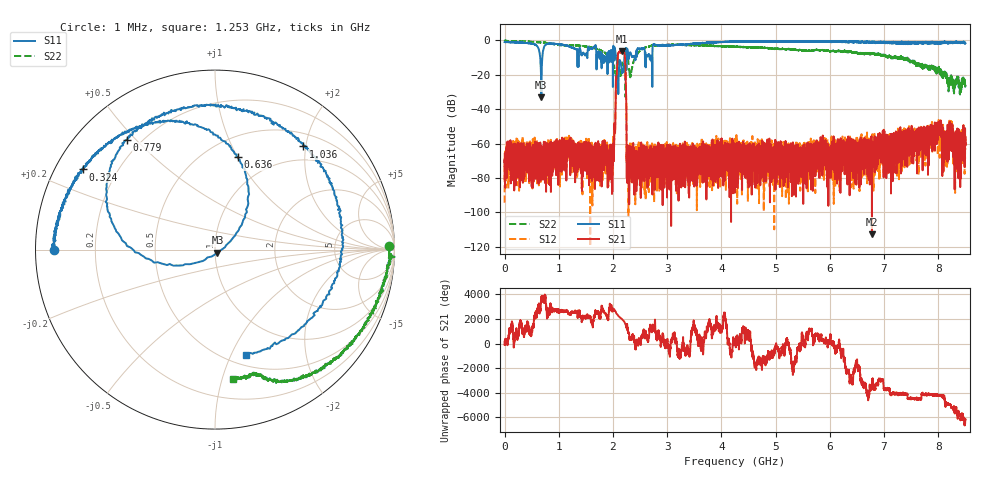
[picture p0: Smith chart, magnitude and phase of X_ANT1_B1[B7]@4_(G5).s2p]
#  HZ  S  RI  R  50.00
! Rohde & Schwarz Vector Network Analyzer
! Rohde-Schwarz,ZNBT8-20Port,1318700624101681,3.50
! Created: UTC 7/15/2025, 2:14:11 PM
! freq[Hz]  re:S1010  im:S1010  re:S0410  im:S0410  re:S1004  im:S1004  re:S44  im:S44
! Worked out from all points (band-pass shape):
!   8500 points, 1 MHz to 8.5 GHz, reference 50 ohm
!   highest |S21| = -6.07 dB at 2.173 GHz (marker M1); lowest = -112.7 dB at 6.776 GHz (marker M2)
!   |S21| within 3 dB of the highest: 2.086 GHz to 2.218 GHz (132.4 MHz wide, 6.15 % of centre)
!   lowest |S11| = -33.1 dB at 678 MHz (marker M3), VSWR 1.05, Z = 51.3 - j1.81 ohm
!   |S11| at or under -10 dB: 658 MHz to 696.2 MHz (38.2 MHz wide, 5.64 % of centre); 1.821 GHz to 1.839 GHz (17.37 MHz wide, 0.949 % of centre); 2.062 GHz to 2.212 GHz (150.2 MHz wide, 7.03 % of centre)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
!   |S22| runs from -34.3 to 0.0 dB; largest |S21 - S12| = 0.017
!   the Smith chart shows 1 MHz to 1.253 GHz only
!   S11 on the Smith chart (normalised r, x): 1 MHz: 0.05, -0.00; 324 MHz: 0.08, +0.28; 636 MHz: 0.70, +1.00; 779 MHz: 0.15, +0.47; 1.036 GHz: 0.73, +1.95; 1.253 GHz: 0.61, -1.14
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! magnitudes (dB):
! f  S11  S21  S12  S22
! 1 MHz  -0.9  -70.7  -94.4  -0.3
! 324 MHz  -1.3  -69.5  -68.4  -0.6
! 636 MHz  -5.5  -68.7  -69.4  -1.0
! 678 MHz  -33.1  -65.9  -65.6  -1.2
! 779 MHz  -2.1  -66.2  -66.9  -1.5
! 1.036 GHz  -2.4  -63.3  -61.5  -2.7
! 1.253 GHz  -4.3  -61.5  -60.5  -2.7
! 1.418 GHz  -8.2  -65.6  -67.9  -3.2
! 1.952 GHz  -7.7  -60.6  -68.2  -10.1
! 2.006 GHz  -3.1  -62.6  -57.4  -14.3
! 2.093 GHz  -22.4  -7.5  -7.5  -12.7
! 2.173 GHz  -18.6  -6.1  -6.3  -13.1
! 2.206 GHz  -13.7  -6.9  -6.9  -14.0
! 2.294 GHz  -9.6  -66.1  -62.0  -15.5
! 2.834 GHz  -2.8  -70.0  -70.2  -2.7
! 4.251 GHz  -0.6  -74.5  -62.8  -3.6
! 5.667 GHz  -0.3  -64.7  -64.9  -5.7
! 6.776 GHz  -0.7  -112.7  -75.8  -7.3
! 7.084 GHz  -1.1  -60.0  -58.9  -9.0
! 8.024 GHz  -1.0  -49.0  -48.2  -17.5
! 8.127 GHz  -1.0  -61.8  -64.7  -19.9
! 8.5 GHz  -1.7  -59.8  -63.5  -26.9
